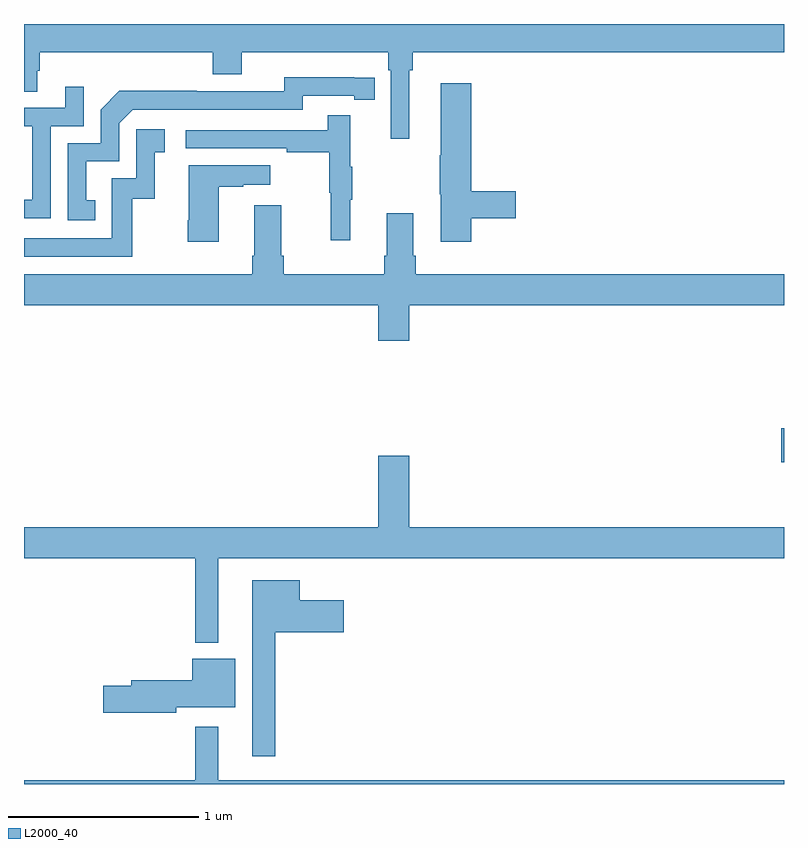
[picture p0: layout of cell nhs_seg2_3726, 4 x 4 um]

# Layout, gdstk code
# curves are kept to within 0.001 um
import gdstk
lib = gdstk.Library(unit=1e-6, precision=1e-09)
def R(c, l, rs):  # rectangles x0, y0, x1, y1
    for r in rs: c.add(gdstk.rectangle(r[:2], r[2:], *l))
def P(c, l, *ps):  # polygons
    for p in ps: c.add(gdstk.Polygon(p, *l))
L2000_40 = (2000, 40)

nhs_seg2_3726 = lib.new_cell('nhs_seg2_3726')
R(nhs_seg2_3726, L2000_40, [(310.986,629.494,311,629.672)])
P(nhs_seg2_3726, L2000_40, [(309.028,631.556),(309.047,631.556),(309.047,631.652),(311,631.652),(311,631.8),(307,631.8),(307,631.444),(307.069,631.444),(307.069,631.554),(307.082,631.554),(307.082,631.652),(307.994,631.652),(307.994,631.535),(308.146,631.535),(308.146,631.652),(308.918,631.652),(308.918,631.556),(308.931,631.556),(308.931,631.197),(309.028,631.197)],
  [(307.376,630.873),(307.327,630.873),(307.327,631.077),(307.5,631.077),(307.5,631.278),(307.572,631.35),(308.466,631.35),(308.466,631.422),(308.738,631.422),(308.738,631.402),(308.846,631.402),(308.846,631.518),(308.37,631.519),(308.37,631.446),(307.91,631.446),(307.91,631.448),(307.502,631.448),(307.404,631.35),(307.404,631.173),(307.23,631.173),(307.23,630.768),(307.376,630.768)],
  [(309.353,630.778),(309.589,630.778),(309.589,630.92),(309.353,630.92),(309.353,631.489),(309.194,631.489),(309.194,631.109),(309.187,631.109),(309.187,630.903),(309.194,630.903),(309.194,630.654),(309.353,630.654)],
  [(307.14,631.263),(307.314,631.263),(307.314,631.471),(307.217,631.471),(307.217,631.359),(307,631.359),(307,631.263),(307.044,631.263),(307.044,630.874),(307,630.874),(307,630.777),(307.14,630.777)],
  [(308.717,630.875),(308.728,630.875),(308.728,631.049),(308.717,631.049),(308.717,631.321),(308.599,631.321),(308.599,631.242),(307.851,631.242),(307.851,631.146),(308.383,631.146),(308.383,631.126),(308.607,631.126),(308.607,630.912),(308.614,630.912),(308.614,630.663),(308.717,630.663)],
  [(307.57,630.879),(307.688,630.879),(307.688,631.125),(307.741,631.125),(307.741,631.246),(307.59,631.246),(307.59,630.987),(307.461,630.987),(307.461,630.672),(307,630.672),(307,630.576),(307.57,630.576)],
  [(308.026,630.943),(308.153,630.943),(308.153,630.953),(308.296,630.953),(308.296,631.057),(307.868,631.057),(307.868,630.766),(307.861,630.766),(307.861,630.654),(308.026,630.654)],
  [(309.028,630.32),(311,630.32),(311,630.484),(309.062,630.484),(309.062,630.58),(309.049,630.58),(309.049,630.805),(308.909,630.805),(308.909,630.58),(308.897,630.58),(308.897,630.484),(308.366,630.484),(308.366,630.58),(308.353,630.58),(308.353,630.847),(308.213,630.847),(308.213,630.58),(308.201,630.58),(308.201,630.484),(307,630.484),(307,630.32),(308.864,630.32),(308.864,630.132),(309.028,630.132)],
  [(308.023,628.988),(311,628.988),(311,629.152),(309.028,629.152),(309.028,629.527),(308.864,629.527),(308.864,629.152),(307,629.152),(307,628.988),(307.902,628.988),(307.902,628.544),(308.023,628.544)],
  [(308.323,628.598),(308.683,628.598),(308.683,628.768),(308.452,628.768),(308.452,628.873),(308.201,628.873),(308.201,627.945),(308.323,627.945)],
  [(307.8,628.205),(308.113,628.205),(308.113,628.459),(307.886,628.459),(307.886,628.346),(307.565,628.346),(307.565,628.316),(307.416,628.316),(307.416,628.174),(307.8,628.174)],
  [(311,627.82),(308.023,627.82),(308.023,628.102),(307.902,628.102),(307.902,627.82),(307,627.82),(307,627.8),(311,627.8)])

lib.write_gds('nhs_seg2_3726.gds')
